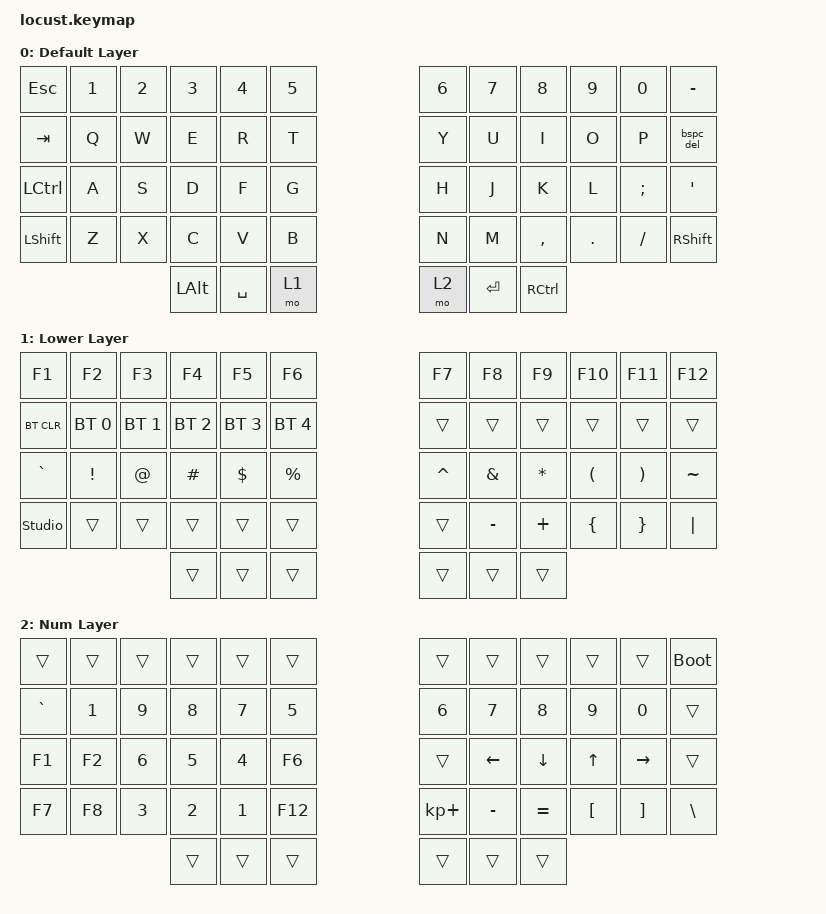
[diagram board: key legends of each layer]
#include <behaviors.dtsi>
#include <dt-bindings/zmk/keys.h>
#include <dt-bindings/zmk/bt.h>

/ {
    behaviors {
        bspc_del: backspace_delete {
            compatible = "zmk,behavior-mod-morph";
            #binding-cells = <0>;
            bindings = <&kp BSPC>, <&kp DEL>;
            mods = <(MOD_LCTL|MOD_LSFT|MOD_RCTL|MOD_RSFT)>;
            keep-mods = <(MOD_LCTL|MOD_RSFT)>;
        };
    };
};

/ {
    keymap {
        compatible = "zmk,keymap";

        default_layer {
            display-name = "Default Layer";
// ------------------------------------------------------------------------------------------------------------
// |  ESC  |  1  |  2  |  3   |  4    |  5   |     |  6   |  7    |  8    |  9   |   0   |   -      |
// |  TAB  |  Q  |  W  |  E   |  R    |  T   |     |  Y   |  U    |  I    |  O   |   P   | BSPC-DEL |
// |  CTRL |  A  |  S  |  D   |  F    |  G   |     |  H   |  J    |  K    |  L   |   ;   |   '      |
// | SHIFT |  Z  |  X  |  C   |  V    |  B   |     |  N   |  M    |  ,    |  .   |   /   | SHIFT    |
//                     | ALT  | SPACE | LOWER|     | RAISE| ENTER | RCTRL |
            bindings = <
&kp ESC   &kp N1 &kp N2 &kp N3   &kp N4    &kp N5   &kp N6 &kp N7     &kp N8    &kp N9  &kp N0   &kp MINUS
&kp TAB   &kp Q  &kp W  &kp E    &kp R     &kp T    &kp Y  &kp U      &kp I     &kp O   &kp P    &bspc_del
&kp LCTRL &kp A  &kp S  &kp D    &kp F     &kp G    &kp H  &kp J      &kp K     &kp L   &kp SEMI &kp SQT
&kp LSHFT &kp Z  &kp X  &kp C    &kp V     &kp B    &kp N  &kp M      &kp COMMA &kp DOT &kp FSLH &kp RSHFT
                        &kp LALT &kp SPACE &mo 1    &mo 2  &kp RETURN &kp RCTRL
            >;
        };

        lower_layer {
            display-name = "Lower Layer";
// ------------------------------------------------------------------------------------------------------------
// |  F1   |  F2 |  F3 |  F4  |  F5  |  F6  |     |  F7  |  F8   |  F9   |  F10 |  F11  |  F12  |
// | BTCLR | BT1 | BT2 |  BT3 |  BT4 |  BT5 |     |      |       |       |      |       |       |
// |   `   |  !  |  @  |  #   |  $   |  %   |     |  ^   |  &    |  *    |  (   |   )   |   ~   |
// |       |     |     |      |      |      |     |      |  _    |  +    |  {   |   }   |  "|"  |
//                     |      |      |      |     |      |       |       |
            bindings = <
&kp F1     &kp F2           &kp F3            &kp F4            &kp F5       &kp F6          &kp F7    &kp F8    &kp F9    &kp F10   &kp F11   &kp F12
&bt BT_CLR &bt BT_SEL 0     &bt BT_SEL 1      &bt BT_SEL 2      &bt BT_SEL 3 &bt BT_SEL 4    &trans    &trans    &trans    &trans    &trans    &trans
&kp GRAVE  &kp EXCL         &kp AT            &kp HASH          &kp DOLLAR   &kp PRCNT       &kp CARET &kp AMPS  &kp ASTRK &kp LPAR  &kp RPAR  &kp TILDE
&studio_unlock  &trans           &trans            &trans            &trans       &trans          &trans    &kp MINUS &kp PLUS  &kp LBRC  &kp RBRC  &kp PIPE
                                              &trans            &trans       &trans          &trans    &trans    &trans
            >;
        };

        num_layer {
            display-name = "Num Layer";
// ------------------------------------------------------------------------------------------------------------
// |       |     |     |      |      |      |     |      |       |       |      |       |       |
// |   `   |  1  |  2  |  3   |  4   |  5   |     |  6   |   7   |   8   |  9   |   0   |       |
// |   F1  |  F2 |  F3 |  F4  |  F5  |  F6  |     |      |   <-  |   v   |  ^   |  ->   |       |
// |   F7  |  F8 |  F9 |  F10 |  F11 |  F12 |     |  +   |   -   |   =   |  [   |   ]   |   \   |
//                     |      |      |      |     |      |       |       |
            bindings = <
&trans    &trans &trans &trans &trans  &trans      &trans      &trans    &trans    &trans   &trans    &bootloader
&kp GRAVE &kp N1 &kp N9 &kp N8 &kp N7  &kp N5      &kp N6      &kp N7    &kp N8    &kp N9   &kp N0    &trans
&kp F1    &kp F2 &kp N6 &kp N5 &kp N4  &kp F6      &trans      &kp LEFT  &kp DOWN  &kp UP   &kp RIGHT &trans
&kp F7    &kp F8 &kp N3 &kp N2 &kp N1  &kp F12     &kp KP_PLUS &kp MINUS &kp EQUAL &kp LBKT &kp RBKT  &kp BSLH
                        &trans &trans  &trans      &trans      &trans    &trans
            >;
        };

        extra1 {
            status = "reserved";
        };

        extra2 {
            status = "reserved";
        };

    };
};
